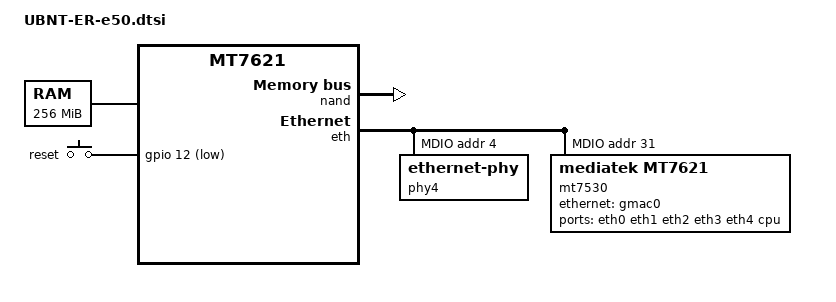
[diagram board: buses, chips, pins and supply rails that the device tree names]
#include "mt7621.dtsi"

#include <dt-bindings/gpio/gpio.h>
#include <dt-bindings/input/input.h>

/ {
	compatible = "ubiquiti,edgerouterx", "mediatek,mt7621-soc";

	memory@0 {
		device_type = "memory";
		reg = <0x0 0x10000000>;
	};

	aliases {
		label-mac-device = &gmac0;
	};

	chosen {
		bootargs = "console=ttyS0,57600 rootfstype=squashfs,jffs2 debug";
	};

	keys {
		compatible = "gpio-keys";

		reset {
			label = "reset";
			gpios = <&gpio 12 GPIO_ACTIVE_LOW>;
			linux,code = <KEY_RESTART>;
		};
	};
};

&nand {
	status = "okay";

	partitions {
		compatible = "fixed-partitions";
		#address-cells = <1>;
		#size-cells = <1>;

		partition@0 {
			label = "u-boot";
			reg = <0x0 0x80000>;
			read-only;
		};

		partition@80000 {
			label = "u-boot-env";
			reg = <0x80000 0x60000>;
			read-only;
		};

		factory: partition@e0000 {
			label = "factory";
			reg = <0xe0000 0x60000>;
		};

		partition@140000 {
			label = "kernel1";
			reg = <0x140000 0x300000>;
		};

		partition@440000 {
			label = "kernel2";
			reg = <0x440000 0x300000>;
		};

		partition@740000 {
			label = "ubi";
			reg = <0x740000 0xf7c0000>;
		};
	};
};

&state_default {
	gpio {
		groups = "uart2", "uart3", "pcie", "rgmii2", "jtag";
		function = "gpio";
	};
};

&spi0 {
	/*
	 * This board has 2Mb spi flash soldered in and visible
	 * from manufacturer's firmware.
	 * But this SoC shares spi and nand pins,
	 * and current driver doesn't handle this sharing well
	 */
	status = "disabled";

	m25p80@1 {
		compatible = "jedec,spi-nor";
		reg = <1>;
		spi-max-frequency = <10000000>;

		partitions {
			compatible = "fixed-partitions";
			#address-cells = <1>;
			#size-cells = <1>;

			partition@0 {
				label = "spi";
				reg = <0x0 0x200000>;
				read-only;
			};
		};
	};
};

&xhci {
	status = "disabled";
};

&eth {
	status = "okay";

	gmac0: mac@0 {
		compatible = "mediatek,eth-mac";
		mtd-mac-address = <&factory 0x22>;
		label = "dsa";
		reg = <0>;
		phy-mode = "trgmii";

		fixed-link {
			speed = <1000>;
			full-duplex;
			pause;
		};
	};

/*
	gmac1: mac@1 {
		compatible = "mediatek,eth-mac";
		mtd-mac-address = <&factory 0x22>;
		reg = <1>;
		label = "eth4";
		phy-mode = "rgmii-txid";
		phy-handle = <&phy4>;
	};
*/

	mdio: mdio-bus {
		#address-cells = <1>;
		#size-cells = <0>;

		/* Internal phy */
		phy4: ethernet-phy@4 {
			reg = <4>;
		};

		mt7530: switch@1f {
			compatible = "mediatek,mt7621";
			#address-cells = <1>;
			#size-cells = <0>;
			reg = <0x1f>;
			pinctrl-names = "default";
			mediatek,mcm;

			resets = <&rstctrl 2>;
			reset-names = "mcm";

			ports {
				#address-cells = <1>;
				#size-cells = <0>;
		
				port@0 {
					reg = <0>;
					label = "eth0";
				};
		
				port@1 {
					reg = <1>;
					label = "eth1";
					mtd-mac-address = <&factory 0x22>;
					mtd-mac-address-increment = <1>;
				};
		
				port@2 {
					reg = <2>;
					label = "eth2";
					mtd-mac-address = <&factory 0x22>;
					mtd-mac-address-increment = <2>;
				};
		
				port@3 {
					reg = <3>;
					label = "eth3";
					mtd-mac-address = <&factory 0x22>;
					mtd-mac-address-increment = <3>;
				};

				port@4 {
					reg = <4>;
					label = "eth4";
					mtd-mac-address = <&factory 0x22>;
					mtd-mac-address-increment = <4>;
				};

				cpu_port0: port@6 {
					reg = <6>;
					label = "cpu";
					ethernet = <&gmac0>;
					phy-mode = "trgmii";

					fixed-link {
						speed = <1000>;
						full-duplex;
						pause;
					};
				};
			};
		};
	};
};
